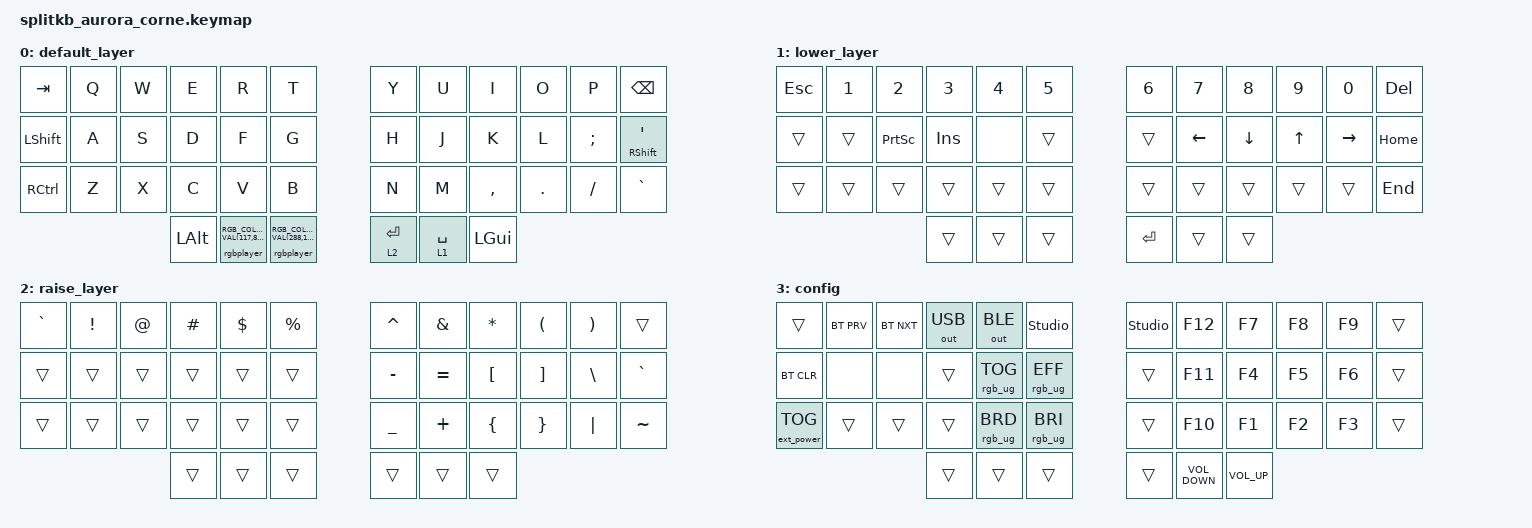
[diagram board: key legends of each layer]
/*
 * Copyright (c) 2020 The ZMK Contributors
 *
 * SPDX-License-Identifier: MIT
 */
// ZMK includes

#include <behaviors.dtsi>
#include <dt-bindings/zmk/bt.h>
#include <dt-bindings/zmk/ext_power.h>
#include <dt-bindings/zmk/keys.h>
#include <dt-bindings/zmk/outputs.h>
#include <dt-bindings/zmk/rgb.h>

/ {
    macros {
        lower_layer: lower_layer {
            compatible = "zmk,behavior-macro-two-param";
            #binding-cells = <2>;
            bindings = <&macro_param_2to2>;
            label = "MOMENTARY_LAYER_WITH_RGB_SELECTION";
        };

        rgbplayer: raise_layer {
            compatible = "zmk,behavior-macro-two-param";
            #binding-cells = <2>;
            bindings =
                <&macro_param_2to2 &rgb_ug RGB_COLOR_HSB_CMD MACRO_PLACEHOLDER &macro_param_1to1>,
                <&macro_press>,
                <&mo MACRO_PLACEHOLDER>,
                <&macro_pause_for_release>,
                <&macro_release>,
                <&macro_param_1to1 &mo MACRO_PLACEHOLDER>,
                <&macro_tap>,
                <&rgb_ug RGB_TOG>;

            label = "RAISE_LAYER";
        };
    };

    combos {
        compatible = "zmk,combos";

        L_Brace {
            bindings = <&kp LEFT_BRACE>;
            key-positions = <4 3>;
        };

        L_Brackets {
            bindings = <&kp LEFT_BRACKET>;
            key-positions = <16 15>;
        };

        L_Parenthesis {
            bindings = <&kp LEFT_PARENTHESIS>;
            key-positions = <28 27>;
        };

        R_Brace {
            bindings = <&kp RIGHT_BRACE>;
            key-positions = <7 8>;
        };

        R_Brackets {
            bindings = <&kp RIGHT_BRACKET>;
            key-positions = <20 19>;
        };

        R_Parenthesis {
            bindings = <&kp RIGHT_PARENTHESIS>;
            key-positions = <32 31>;
        };

        reset_left {
            bindings = <&sys_reset>;
            key-positions = <0 5>;
        };

        reset_right {
            bindings = <&sys_reset>;
            key-positions = <6 11>;
        };
    };

    behaviors {
        tp: tap_preferred {
            compatible = "zmk,behavior-hold-tap";
            label = "TAP_PREFERRED";
            bindings = <&none>, <&none>;

            #binding-cells = <2>;
            tapping-term-ms = <150>;
            quick-tap-ms = <0>;
            flavor = "tap-preferred";
        };
    };

    keymap {
        compatible = "zmk,keymap";

        default_layer {
            // -----------------------------------------------------------------------------------------
            // |  TAB |  Q  |  W  |  E  |  R  |  T  |   |  Y  |  U   |  I  |  O  |  P  | BKSP |
            // | CTRL |  A  |  S  |  D  |  F  |  G  |   |  H  |  J   |  K  |  L  |  ;  |  '   |
            // | SHFT |  Z  |  X  |  C  |  V  |  B  |   |  N  |  M   |  ,  |  .  |  /  | ESC  |
            //                    | GUI | LWR | SPC |   | ENT | RSE  | ALT |

            bindings = <
&kp TAB     &kp Q  &kp W  &kp E         &kp R                                      &kp T                                         &kp Y        &kp U        &kp I      &kp O    &kp P     &kp BACKSPACE
&kp LSHIFT  &kp A  &kp S  &kp D         &kp F                                      &kp G                                         &kp H        &kp J        &kp K      &kp L    &kp SEMI  &mt RSHIFT APOS
&kp RCTRL   &kp Z  &kp X  &kp C         &kp V                                      &kp B                                         &kp N        &kp M        &kp COMMA  &kp DOT  &kp FSLH  &kp GRAVE
                          &kp LEFT_ALT  &rgbplayer RGB_COLOR_HSB_VAL(117,80,46) 0  &rgbplayer RGB_COLOR_HSB_VAL(288,100,50) 2    &lt 2 ENTER  &lt 1 SPACE  &kp LGUI
            >;
        };

        lower_layer {
            // -----------------------------------------------------------------------------------------
            // |  TAB |  1  |  2  |  3  |  4  |  5  |   |  6  |  7  |  8  |  9  |  0  | BKSP |
            // | BTCLR| BT1 | BT2 | BT3 | BT4 | BT5 |   | LFT | DWN |  UP | RGT |     |      |
            // | SHFT |     |     |     |     |     |   |     |     |     |     |     |      |
            //                    | GUI |     | SPC |   | ENT |     | ALT |

            bindings = <
&kp ESC  &kp N1  &kp N2           &kp N3   &kp N4  &kp N5    &kp N6     &kp N7          &kp N8    &kp N9        &kp N0           &kp DELETE
&trans   &trans  &kp PRINTSCREEN  &kp INS  &none   &trans    &trans     &kp LEFT_ARROW  &kp DOWN  &kp UP_ARROW  &kp RIGHT_ARROW  &kp HOME
&trans   &trans  &trans           &trans   &trans  &trans    &trans     &trans          &trans    &trans        &trans           &kp END
                                  &trans   &trans  &trans    &kp ENTER  &trans          &trans
            >;
        };

        raise_layer {
            // -----------------------------------------------------------------------------------------
            // |  TAB |  !  |  @  |  #  |  $  |  %  |   |  ^  |  &  |  *  |  (  |  )  | BKSP |
            // | CTRL |     |     |     |     |     |   |  -  |  =  |  [  |  ]  |  \  |  `   |
            // | SHFT |     |     |     |     |     |   |  _  |  +  |  {  |  }  | "|" |  ~   |
            //                    | GUI |     | SPC |   | ENT |     | ALT |

            bindings = <
&kp GRAVE  &kp EXCL  &kp AT  &kp HASH  &kp DLLR  &kp PRCNT    &kp CARET  &kp AMPS   &kp ASTERISK  &kp LPAR  &kp RPAR  &trans
&trans     &trans    &trans  &trans    &trans    &trans       &kp MINUS  &kp EQUAL  &kp LBKT      &kp RBKT  &kp BSLH  &kp GRAVE
&trans     &trans    &trans  &trans    &trans    &trans       &kp UNDER  &kp PLUS   &kp LBRC      &kp RBRC  &kp PIPE  &kp TILDE
                             &trans    &trans    &trans       &trans     &trans     &trans
            >;
        };

        config {
            bindings = <
&trans             &bt BT_PRV  &bt BT_NXT  &out OUT_USB  &out OUT_BLE     &studio_unlock     &studio_unlock  &kp F12            &kp F7           &kp F8  &kp F9  &trans
&bt BT_CLR         &none       &none       &trans        &rgb_ug RGB_TOG  &rgb_ug RGB_EFF    &trans          &kp F11            &kp F4           &kp F5  &kp F6  &trans
&ext_power EP_TOG  &trans      &trans      &trans        &rgb_ug RGB_BRD  &rgb_ug RGB_BRI    &trans          &kp F10            &kp F1           &kp F2  &kp F3  &trans
                                           &trans        &trans           &trans             &trans          &kp C_VOLUME_DOWN  &kp C_VOLUME_UP
            >;
        };
    };

    conditional_layers {
        compatible = "zmk,conditional-layers";

        tri_layer {
            if-layers = <1 2>;
            then-layer = <3>;
        };
    };
};
